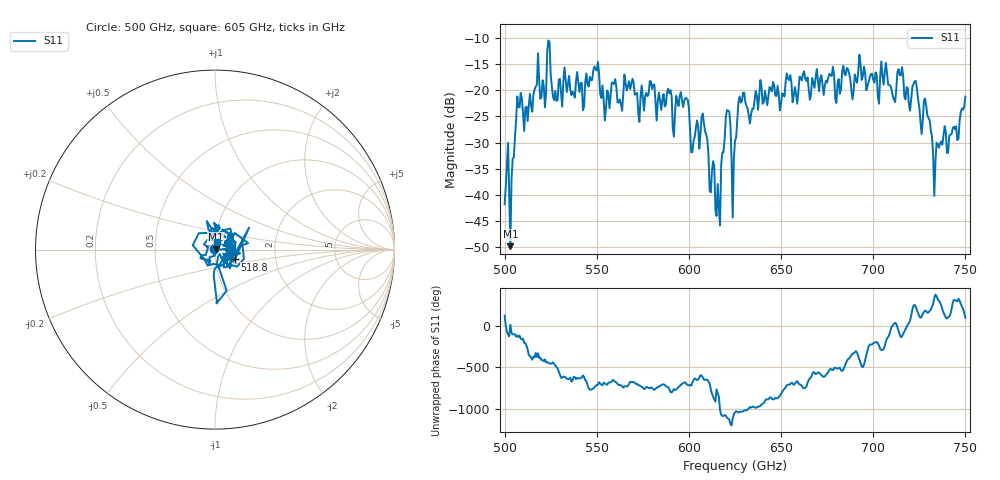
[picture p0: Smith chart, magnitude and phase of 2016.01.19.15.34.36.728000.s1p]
!Created with skrf (http://scikit-rf.org).
# GHz S RI R 50.0
!freq ReS11 ImS11
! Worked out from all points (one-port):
!   401 points, 500 GHz to 750 GHz, reference 50 ohm
!   lowest |S11| = -49.9 dB at 503.1 GHz (marker M1), VSWR 1.01, Z = 50.3 + j0.116 ohm
!   |S11| at or under -10 dB: start of sweep to end of sweep
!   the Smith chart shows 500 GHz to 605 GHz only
!   S11 on the Smith chart (normalised r, x): 500 GHz: 0.99, +0.01; 518.8 GHz: 1.24, -0.14; 605 GHz: 1.02, +0.09
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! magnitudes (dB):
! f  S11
! 500 GHz  -41.8
! 503.1 GHz  -49.9
! 508.1 GHz  -23.3
! 511.2 GHz  -23.4
! 518.8 GHz  -18.2
! 521.2 GHz  -19.2
! 524.4 GHz  -10.8
! 527.5 GHz  -20.1
! 531.2 GHz  -23.1
! 549.4 GHz  -16.0
! 553.8 GHz  -21.8
! 562.5 GHz  -21.7
! 593.8 GHz  -22.2
! 605 GHz  -26.9
! 608.8 GHz  -27.9
! 615.6 GHz  -38.0
! 620.6 GHz  -23.8
! 625 GHz  -29.7
! 628.8 GHz  -22.0
! 656.2 GHz  -22.3
! 687.5 GHz  -17.7
! 705.6 GHz  -18.9
! 711.2 GHz  -21.7
! 714.4 GHz  -17.1
! 718.8 GHz  -19.6
! 728.8 GHz  -23.0
! 733.8 GHz  -33.6
! 750 GHz  -21.2
